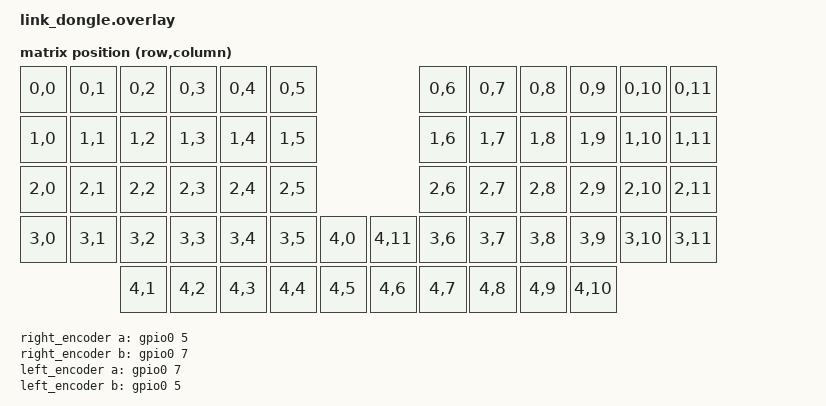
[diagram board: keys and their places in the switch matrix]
/*
 * Link dongle shield for a PandaKB nRF52840 dongle (nice!nano v2 compatible).
 *
 * Matrix transform and sensors are vendored from
 * zmk-cannonkeys-keyboards boards/arm/link/link.dtsi (commit 0b6f0219).
 * OLED node is vendored from PandaKB zmk-sofle-j-dongle
 * eyelash_sofle_central_dongle.overlay (same dongle hardware:
 * 1.3" SH1106 on I2C, SDA P0.17 / SCL P0.20).
 */

#include <dt-bindings/zmk/matrix_transform.h>
#include "link_dongle-layouts.dtsi"

/ {
    chosen {
        zephyr,display = &oled;
        zmk,kscan = &mock_kscan;
        zmk,physical-layout = &physical_layout0;
    };

    /* The dongle has no switches of its own. */
    mock_kscan: kscan_1 {
        compatible = "zmk,kscan-mock";
        columns = <0>;
        rows = <0>;
        events = <0>;
    };

    default_transform: keymap_transform_0 {
        compatible = "zmk,matrix-transform";
        columns = <12>;
        rows = <5>;
        map = <
RC(0,0) RC(0,1) RC(0,2) RC(0,3) RC(0,4) RC(0,5)                      RC(0,6) RC(0,7) RC(0,8) RC(0,9) RC(0,10) RC(0,11)
RC(1,0) RC(1,1) RC(1,2) RC(1,3) RC(1,4) RC(1,5)                      RC(1,6) RC(1,7) RC(1,8) RC(1,9) RC(1,10) RC(1,11)
RC(2,0) RC(2,1) RC(2,2) RC(2,3) RC(2,4) RC(2,5)                      RC(2,6) RC(2,7) RC(2,8) RC(2,9) RC(2,10) RC(2,11)
RC(3,0) RC(3,1) RC(3,2) RC(3,3) RC(3,4) RC(3,5) RC(4,0)    RC(4,11)  RC(3,6) RC(3,7) RC(3,8) RC(3,9) RC(3,10) RC(3,11)
                RC(4,1) RC(4,2) RC(4,3) RC(4,4) RC(4,5)    RC(4,6)   RC(4,7) RC(4,8) RC(4,9) RC(4,10)
        >;
    };

    /*
     * Sensor slots mirror the Link halves so encoder events relayed from the
     * peripherals map onto the keymap's sensor-bindings. The physical
     * encoders live on the halves; these stay disabled on the dongle.
     */
    right_encoder: encoder_right {
        compatible = "alps,ec11";
        a-gpios = <&gpio0 5  (GPIO_ACTIVE_HIGH | GPIO_PULL_UP)>;
        b-gpios = <&gpio0 7  (GPIO_ACTIVE_HIGH | GPIO_PULL_UP)>;
        steps = <80>;
        status = "disabled";
    };

    left_encoder: encoder_left {
        compatible = "alps,ec11";
        a-gpios = <&gpio0 7  (GPIO_ACTIVE_HIGH | GPIO_PULL_UP)>;
        b-gpios = <&gpio0 5  (GPIO_ACTIVE_HIGH | GPIO_PULL_UP)>;
        steps = <80>;
        status = "disabled";
    };

    sensors: sensors {
        compatible = "zmk,keymap-sensors";
        sensors = <&left_encoder &right_encoder>;
        triggers-per-rotation = <20>;
    };
};

&pinctrl {
    i2c0_default: i2c0_default {
        group1 {
            psels = <NRF_PSEL(TWIM_SDA, 0, 17)>,
                <NRF_PSEL(TWIM_SCL, 0, 20)>;
        };
    };

    i2c0_sleep: i2c0_sleep {
        group1 {
            psels = <NRF_PSEL(TWIM_SDA, 0, 17)>,
                <NRF_PSEL(TWIM_SCL, 0, 20)>;
            low-power-enable;
        };
    };
};

&i2c0 {
    status = "okay";
    compatible = "nordic,nrf-twi";
    pinctrl-0 = <&i2c0_default>;
    pinctrl-1 = <&i2c0_sleep>;

    oled: sh1106@3c {
        compatible = "sinowealth,sh1106";
        reg = <0x3c>;
        width = <129>;
        height = <64>;
        segment-offset = <1>;
        page-offset = <0>;
        display-offset = <0>;
        multiplex-ratio = <63>;
        segment-remap;
        com-invdir;
        inversion-on;
        prechargep = <0x22>;
    };
};
